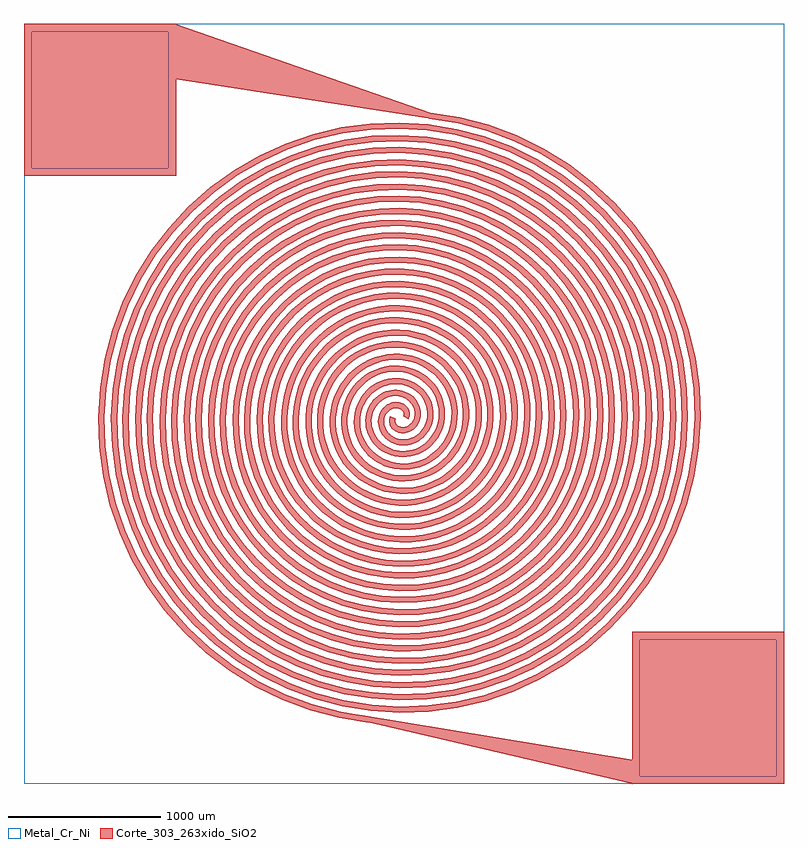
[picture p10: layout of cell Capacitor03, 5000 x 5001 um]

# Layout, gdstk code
from math import pi, radians
import gdstk
lib = gdstk.Library(unit=1e-6, precision=1e-06)
def P(c, l, *ps):  # polygons
    for p in ps: c.add(gdstk.Polygon(p, *l))
Corte_303_263xido_SiO2 = (1, 0)
Metal_Cr_Ni = (2, 0)

spiral_1_2 = lib.new_cell('Spiral$1$2')
spiral_1_2.add(gdstk.FlexPath([(40,0),(42,4),(44,9),(45,14),(46,19),(46,25),(46,31),(44,36),(42,42),(40,48),(36,54),(32,60),(27,65),(21,69),(15,74),(8,77),(0,80),(-8,82),(-17,83),(-25,84),(-34,83),(-44,82),(-53,79),(-62,75),(-71,71),(-79,65),(-87,58),(-95,51),(-102,42),(-108,33),(-113,22),(-117,12),(-120,0),(-122,-12),(-123,-24),(-122,-37),(-120,-50),(-117,-62),(-112,-75),(-106,-87),(-99,-99),(-90,-110),(-81,-121),(-70,-130),(-57,-139),(-44,-146),(-30,-152),(-15,-157),(0,-160),(16,-162),(32,-162),(49,-160),(65,-157),(81,-152),(97,-146),(113,-137),(127,-127),(141,-116),(154,-103),(165,-88),(176,-73),(184,-56),(191,-38),(197,-19),(200,0),(202,20),(201,40),(199,60),(194,80),(187,100),(179,119),(168,138),(156,156),(141,172),(125,187),(107,201),(88,212),(67,222),(46,230),(23,236),(0,240),(-24,241),(-48,240),(-72,237),(-96,231),(-119,223),(-142,212),(-163,199),(-184,184),(-203,167),(-220,147),(-236,126),(-249,103),(-261,79),(-270,54),(-276,27),(-280,0),(-281,-28),(-280,-56),(-275,-83),(-268,-111),(-258,-138),(-245,-164),(-230,-189),(-212,-212),(-192,-234),(-169,-254),(-145,-271),(-119,-286),(-91,-299),(-61,-309),(-31,-316),(0,-320),(32,-321),(63,-319),(95,-313),(126,-305),(157,-293),(186,-279),(214,-261),(240,-240),(265,-217),(287,-192),(306,-164),(323,-134),(337,-102),(348,-69),(356,-35),(360,0),(361,36),(358,71),(352,107),(342,142),(329,176),(312,208),(292,239),(269,269),(243,296),(214,320),(183,342),(149,360),(114,376),(77,387),(39,396),(0,400),(-39,401),(-79,397),(-118,390),(-157,379),(-194,364),(-231,345),(-265,323),(-297,297),(-327,268),(-353,236),(-377,202),(-397,165),(-414,126),(-427,85),(-435,43),(-440,0),(-440,-43),(-436,-87),(-428,-130),(-416,-172),(-399,-213),(-378,-253),(-354,-290),(-325,-325),(-293,-358),(-258,-387),(-220,-412),(-180,-434),(-137,-452),(-93,-466),(-47,-475),(0,-480),(47,-480),(95,-476),(142,-467),(188,-453),(232,-434),(275,-412),(316,-385),(354,-354),(388,-319),(420,-281),(448,-239),(471,-195),(490,-149),(505,-100),(515,-51),(520,0),(520,51),(515,102),(505,153),(490,203),(470,251),(445,297),(415,341),(382,382),(344,419),(303,453),(258,483),(210,508),(160,529),(108,544),(55,555),(0,560),(-55,560),(-110,554),(-165,543),(-218,527),(-270,505),(-319,478),(-366,446),(-410,410),(-450,370),(-486,325),(-518,277),(-545,226),(-567,172),(-584,116),(-595,59),(-600,0),(-600,-59),(-593,-118),(-581,-176),(-564,-233),(-540,-289),(-511,-342),(-477,-392),(-438,-438),(-395,-481),(-347,-520),(-296,-553),(-241,-582),(-184,-605),(-124,-623),(-62,-634),(0,-640),(63,-639),(126,-633),(188,-620),(249,-601),(308,-575),(364,-545),(417,-508),(467,-467),(512,-420),(553,-369),(589,-315),(619,-256),(644,-195),(662,-132),(674,-66),(680,0),(679,67),(672,134),(658,200),(637,264),(611,326),(578,386),(539,442),(495,495),(446,543),(392,586),(334,624),(272,656),(207,682),(139,701),(70,714),(0,720),(-71,719),(-141,711),(-211,696),(-279,674),(-345,646),(-408,611),(-468,570),(-523,523),(-574,471),(-619,414),(-659,352),(-693,287),(-720,218),(-740,147),(-754,74),(-760,0),(-759,-75),(-750,-149),(-734,-223),(-711,-295),(-681,-364),(-644,-431),(-601,-493),(-552,-552),(-496,-605),(-436,-653),(-371,-695),(-302,-730),(-230,-758),(-155,-780),(-78,-794),(0,-800),(79,-799),(157,-790),(234,-773),(310,-748),(383,-717),(453,-678),(519,-632),(580,-580),(636,-522),(686,-458),(730,-390),(767,-318),(797,-242),(819,-163),(833,-82),(840,0),(838,83),(829,165),(811,246),(785,325),(752,402),(711,475),(663,544),(608,608),(547,667),(481,719),(409,765),(333,804),(253,835),(171,858),(86,873),(0,880),(-87,878),(-173,868),(-258,849),(-341,822),(-421,787),(-497,744),(-569,694),(-636,636),(-698,573),(-752,503),(-800,428),(-841,348),(-873,265),(-897,179),(-913,90),(-920,0),(-918,-90),(-907,-180),(-888,-269),(-859,-356),(-822,-440),(-777,-519),(-725,-595),(-665,-665),(-598,-729),(-525,-786),(-447,-836),(-364,-878),(-276,-911),(-186,-937),(-94,-953),(0,-960),(94,-958),(188,-946),(281,-926),(371,-896),(458,-858),(542,-811),(620,-756),(693,-693),(759,-623),(819,-547),(871,-466),(915,-379),(950,-288),(976,-194),(993,-98),(1000,0),(998,98),(986,196),(964,292),(933,387),(893,477),(844,564),(787,645),(721,721),(649,790),(569,852),(484,906),(394,952),(300,988),(202,1015),(102,1033),(0,1040),(-102,1037),(-204,1025),(-304,1002),(-402,970),(-496,928),(-586,877),(-671,817),(-750,750),(-821,674),(-886,592),(-941,503),(-989,409),(-1026,311),(-1054,210),(-1072,106),(-1080,0),(-1077,-106),(-1064,-212),(-1041,-316),(-1007,-417),(-963,-515),(-910,-608),(-848,-696),(-778,-778),(-699,-852),(-614,-919),(-522,-977),(-425,-1026),(-323,-1065),(-218,-1094),(-110,-1112),(0,-1120),(110,-1117),(219,-1103),(327,-1079),(432,-1044),(534,-999),(631,-944),(722,-879),(806,-806),(883,-725),(952,-636),(1012,-541),(1062,-440),(1103,-335),(1133,-225),(1152,-113),(1160,0),(1157,114),(1143,227),(1117,339),(1081,448),(1034,553),(977,653),(910,747),(834,834),(750,914),(658,985),(560,1047),(455,1099),(346,1141),(233,1172),(117,1192),(0,1200),(-118,1197),(-235,1182),(-351,1156),(-463,1118),(-572,1069),(-675,1010),(-772,941),(-863,863),(-945,776),(-1019,681),(-1083,579),(-1136,471),(-1179,358),(-1211,241),(-1232,121),(-1240,0),(-1237,-122),(-1221,-243),(-1194,-362),(-1155,-478),(-1105,-590),(-1043,-697),(-972,-798),(-891,-891),(-801,-976),(-703,-1052),(-597,-1118),(-486,-1173),(-369,-1218),(-249,-1251),(-125,-1271),(0,-1280),(126,-1276),(251,-1260),(374,-1232),(494,-1192),(609,-1140),(719,-1077),(823,-1003),(919,-919),(1007,-826),(1085,-725),(1153,-616),(1210,-501),(1256,-381),(1290,-257),(1311,-129),(1320,0),(1316,130),(1300,258),(1270,385),(1229,509),(1175,628),(1110,742),(1034,849),(948,948),(852,1038),(747,1118),(635,1188),(517,1247),(393,1294),(264,1329),(133,1351),(0,1360),(-134,1356),(-266,1339),(-397,1309),(-524,1266),(-647,1210),(-764,1143),(-874,1065),(-976,976),(-1069,877),(-1152,769),(-1224,654),(-1284,532),(-1333,404),(-1368,272),(-1391,137),(-1400,0),(-1396,-137),(-1378,-274),(-1347,-409),(-1303,-540),(-1246,-666),(-1177,-786),(-1096,-899),(-1004,-1004),(-902,-1100),(-792,-1185),(-673,-1259),(-547,-1321),(-416,-1371),(-280,-1407),(-141,-1431),(0,-1440),(141,-1436),(282,-1417),(420,-1385),(555,-1340),(685,-1281),(808,-1210),(925,-1127),(1032,-1032),(1131,-928),(1218,-814),(1294,-692),(1358,-563),(1409,-427),(1447,-288),(1470,-145),(1480,0),(1475,145),(1456,290),(1423,432),(1377,570),(1316,704),(1243,831),(1158,950),(1061,1061),(953,1161),(836,1251),(711,1329),(578,1395),(439,1447),(296,1486),(149,1510),(0,1520),(-149,1515),(-298,1496),(-443,1462),(-586,1414),(-722,1352),(-853,1276),(-975,1189),(-1089,1089),(-1192,979),(-1285,858),(-1365,729),(-1432,593),(-1486,451),(-1525,303),(-1550,153),(-1560,0),(-1555,-153),(-1535,-305),(-1500,-455),(-1450,-601),(-1387,-741),(-1310,-875),(-1219,-1001),(-1117,-1117),(-1004,-1223),(-881,-1318),(-748,-1400),(-608,-1469),(-462,-1524),(-311,-1564),(-157,-1590),(0,-1600),(157,-1595),(313,-1574),(467,-1538),(616,-1487),(760,-1422),(897,-1343),(1026,-1250),(1146,-1146),(1254,-1029),(1351,-903),(1435,-767),(1506,-624),(1562,-474),(1604,-319),(1630,-161),(1640,0),(1635,161),(1613,321),(1577,478),(1524,631),(1457,779),(1376,919),(1281,1052),(1174,1174),(1055,1285),(925,1384),(786,1471),(639,1543),(486,1600),(327,1643),(164,1669),(0,1680),(-165,1674),(-329,1653),(-490,1615),(-647,1561),(-798,1493),(-942,1409),(-1077,1312),(-1202,1202),(-1316,1080),(-1418,947),(-1506,805),(-1580,654),(-1639,497),(-1682,335),(-1709,168),(-1720,0),(-1714,-169),(-1692,-337),(-1653,-501),(-1598,-662),(-1528,-817),(-1443,-964),(-1343,-1102),(-1230,-1230),(-1105,-1347),(-969,-1451),(-824,-1541),(-670,-1617),(-509,-1677),(-342,-1721),(-172,-1749),(0,-1760),(173,-1754),(344,-1731),(513,-1691),(677,-1635),(836,-1563),(986,-1476),(1128,-1374),(1259,-1259),(1378,-1131),(1484,-992),(1576,-843),(1654,-685),(1715,-520),(1761,-350),(1789,-176),(1800,0),(1794,177),(1770,352),(1730,525),(1672,693),(1598,854),(1509,1008),(1405,1153),(1287,1287),(1156,1409),(1014,1517),(861,1612),(700,1691),(532,1754),(358,1800),(180,1829),(0,1840),(-181,1834),(-360,1810),(-536,1768),(-708,1709),(-873,1634),(-1031,1542),(-1178,1436),(-1315,1315),(-1440,1182),(-1551,1036),(-1647,880),(-1728,716),(-1792,544),(-1839,366),(-1868,184),(-1880,0),(-1873,-185),(-1849,-368),(-1806,-548),(-1746,-723),(-1669,-892),(-1576,-1053),(-1467,-1204),(-1344,-1344),(-1207,-1471),(-1058,-1584),(-899,-1682),(-731,-1765),(-555,-1830),(-374,-1878),(-188,-1908),(0,-1920),(188,-1913),(376,-1888),(560,-1845),(739,-1783),(911,-1704),(1075,-1609),(1229,-1498),(1372,-1372),(1502,-1232),(1617,-1081),(1718,-918),(1802,-746),(1868,-567),(1917,-381),(1948,-192),(1960,0),(1953,192),(1927,383),(1883,571),(1820,754),(1740,930),(1642,1097),(1529,1255),(1400,1400),(1258,1532),(1103,1650),(937,1753),(762,1839),(578,1907),(389,1957),(196,1988)], 40, ends="flush", simple_path=True, layer=1, datatype=0))  # Corte_303_263xido_SiO2

capacitor03 = lib.new_cell('Capacitor03')
P(capacitor03, Corte_303_263xido_SiO2, [(467218,-11936),(467218,-10936),(468218,-10936),(468218,-10937),(469967,-11547),(469939,-11568),(468218,-11301),(468218,-11936)],
  [(471220,-15937),(471220,-15936),(471218,-15936),(469328,-15495),(469424,-15482),(471218,-15776),(471218,-14936),(472218,-14936),(472218,-15936),(471220,-15936)])
P(capacitor03, Metal_Cr_Ni, [(467218,-15936),(467218,-14986),(471268,-14986),(471268,-15886),(472168,-15886),(472168,-14986),(467218,-14986),(467218,-10986),(467268,-10986),(467268,-11886),(468168,-11886),(468168,-10986),(467218,-10986),(467218,-10936),(472218,-10936),(472218,-15936)])
capacitor03.add(gdstk.Reference(spiral_1_2, (469690,-13527)))
capacitor03.add(gdstk.Reference(spiral_1_2, (469686,-13525), rotation=pi))

lib.write_gds('Capacitor03.gds')
